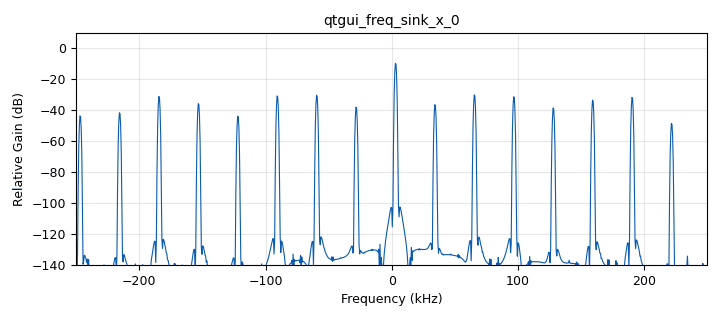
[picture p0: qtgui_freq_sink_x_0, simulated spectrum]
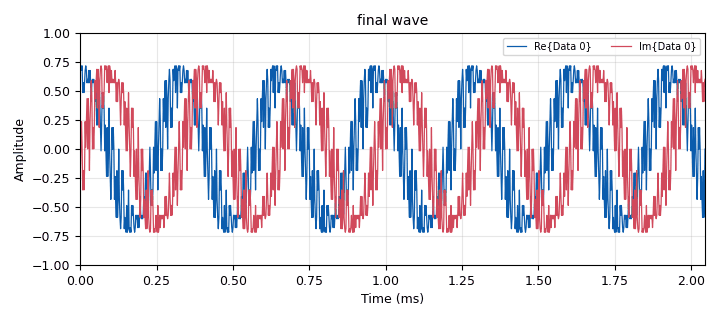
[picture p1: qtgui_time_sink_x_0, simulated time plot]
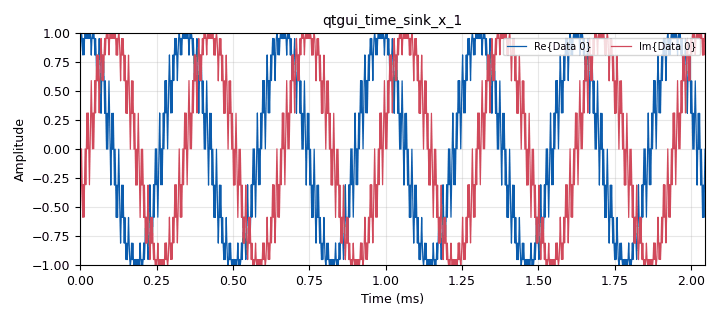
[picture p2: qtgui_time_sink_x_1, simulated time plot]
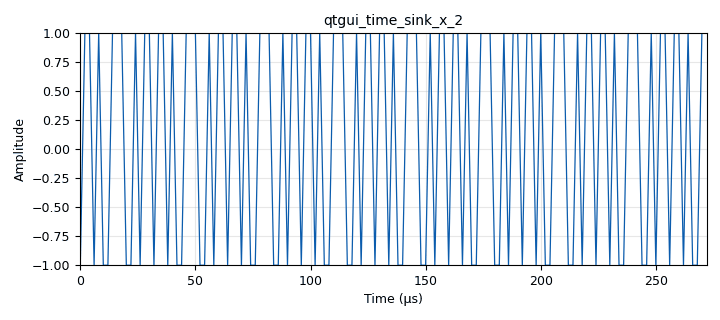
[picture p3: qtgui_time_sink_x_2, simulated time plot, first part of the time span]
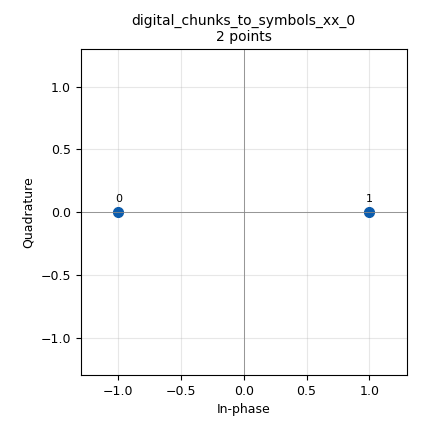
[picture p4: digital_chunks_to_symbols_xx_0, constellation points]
options:
  parameters:
    author: tharunkumar
    generate_options: qt_gui
    id: top_block
    output_language: python
    title: FSK GPR Simulation
  states: {}

blocks:
- name: freq_dev
  id: variable
  parameters:
    value: '25000'
  states: {}
- name: samp_rate
  id: variable
  parameters:
    value: '500000'
  states: {}
- name: sym_rate
  id: variable
  parameters:
    value: '10000'
  states: {}
- name: analog_frequency_modulator_fc_0
  id: analog_frequency_modulator_fc
  parameters:
    sensitivity: 2*numpy.pi*freq_dev/samp_rate
  states: {}
- name: analog_quadrature_demod_cf_0
  id: analog_quadrature_demod_cf
  parameters:
    gain: samp_rate/(2*numpy.pi*freq_dev)
  states: {}
- name: analog_quadrature_demod_cf_1
  id: analog_quadrature_demod_cf
  parameters:
    gain: '3.18309886'
  states: {}
- name: blocks_add_xx_0
  id: blocks_add_xx
  parameters:
    type: complex
  states: {}
- name: blocks_delay_0
  id: blocks_delay
  parameters:
    delay: '250'
    type: complex
  states: {}
- name: blocks_file_sink_0
  id: blocks_file_sink
  parameters:
    file: C:\Users\tharunkumar\Desktop\FSK_GPR\gr_samples_stage45.dat
    type: complex
  states: {}
- name: blocks_file_sink_1
  id: blocks_file_sink
  parameters:
    file: C:\Users\tharunkumar\Desktop\FSK_GPR\reference_stage53.dat
    type: complex
  states: {}
- name: blocks_file_sink_2
  id: blocks_file_sink
  parameters:
    file: C:\Users\tharunkumar\Desktop\FSK_GPR\received_stage53.dat
    type: complex
  states: {}
- name: blocks_file_sink_3
  id: blocks_file_sink
  parameters:
    file: C:\Users\tharunkumar\Desktop\FSK_GPR\demod_stage49.dat
    type: float
    unbuffered: 'True'
  states: {}
- name: blocks_file_sink_4
  id: blocks_file_sink
  parameters:
    file: C:\Users\tharunkumar\Desktop\FSK_GPR\demod_echo_stage51.dat
    type: float
    unbuffered: 'True'
  states: {}
- name: blocks_head_0
  id: blocks_head
  parameters:
    num_items: '100000'
    type: complex
  states: {}
- name: blocks_head_1
  id: blocks_head
  parameters:
    num_items: '100000'
    type: complex
  states: {}
- name: blocks_head_2
  id: blocks_head
  parameters:
    num_items: '100000'
    type: complex
  states: {}
- name: blocks_head_3
  id: blocks_head
  parameters:
    num_items: '100000'
    type: float
  states: {}
- name: blocks_head_4
  id: blocks_head
  parameters:
    num_items: '100000'
    type: float
  states: {}
- name: blocks_multiply_const_vxx_0
  id: blocks_multiply_const_vxx
  parameters:
    const: '0.4'
    type: complex
  states: {}
- name: blocks_vector_source_x_0
  id: blocks_vector_source_x
  parameters:
    repeat: 'True'
    type: byte
    vector: (0, 1, 1, 0, 1, 0, 0, 1, 1, 1, 0, 0, 1, 0, 1, 1)
  states: {}
- name: digital_chunks_to_symbols_xx_0
  id: digital_chunks_to_symbols_xx
  parameters:
    dimension: '1'
    in_type: byte
    out_type: float
    symbol_table: '[-1.0, 1.0]'
  states: {}
- name: import_0
  id: import
  parameters:
    imports: import numpy
  states: {}
- name: qtgui_freq_sink_x_0
  id: qtgui_freq_sink_x
  parameters:
    bw: samp_rate
    fc: '0'
    fftsize: '1024'
    type: complex
  states: {}
- name: qtgui_time_sink_x_0
  id: qtgui_time_sink_x
  parameters:
    name: final wave
    size: '1024'
    srate: samp_rate
    type: complex
  states: {}
- name: qtgui_time_sink_x_1
  id: qtgui_time_sink_x
  parameters:
    size: '1024'
    srate: samp_rate
    type: complex
  states: {}
- name: qtgui_time_sink_x_2
  id: qtgui_time_sink_x
  parameters:
    size: '1024'
    srate: samp_rate
    type: float
  states: {}

connections:
- [analog_frequency_modulator_fc_0, '0', analog_quadrature_demod_cf_0, '0']
- [analog_frequency_modulator_fc_0, '0', blocks_add_xx_0, '0']
- [analog_frequency_modulator_fc_0, '0', blocks_delay_0, '0']
- [analog_frequency_modulator_fc_0, '0', blocks_head_0, '0']
- [analog_frequency_modulator_fc_0, '0', qtgui_freq_sink_x_0, '0']
- [analog_frequency_modulator_fc_0, '0', qtgui_time_sink_x_1, '0']
- [analog_quadrature_demod_cf_0, '0', blocks_head_3, '0']
- [analog_quadrature_demod_cf_1, '0', blocks_head_4, '0']
- [blocks_add_xx_0, '0', analog_quadrature_demod_cf_1, '0']
- [blocks_add_xx_0, '0', blocks_head_1, '0']
- [blocks_add_xx_0, '0', blocks_head_2, '0']
- [blocks_add_xx_0, '0', qtgui_time_sink_x_0, '0']
- [blocks_delay_0, '0', blocks_multiply_const_vxx_0, '0']
- [blocks_head_0, '0', blocks_file_sink_1, '0']
- [blocks_head_1, '0', blocks_file_sink_2, '0']
- [blocks_head_2, '0', blocks_file_sink_0, '0']
- [blocks_head_3, '0', blocks_file_sink_3, '0']
- [blocks_head_3, '0', qtgui_time_sink_x_2, '0']
- [blocks_head_4, '0', blocks_file_sink_4, '0']
- [blocks_multiply_const_vxx_0, '0', blocks_add_xx_0, '1']
- [blocks_vector_source_x_0, '0', digital_chunks_to_symbols_xx_0, '0']
- [digital_chunks_to_symbols_xx_0, '0', analog_frequency_modulator_fc_0, '0']

metadata:
  file_format: 1
  grc_version: 3.10.12.0
